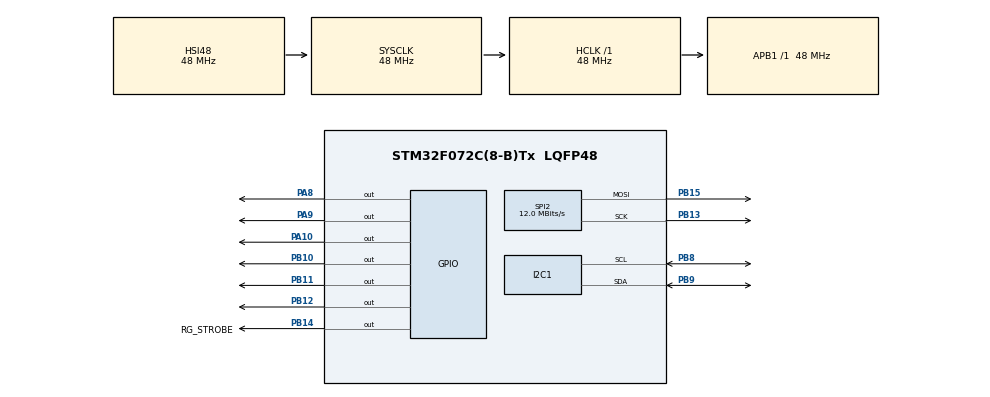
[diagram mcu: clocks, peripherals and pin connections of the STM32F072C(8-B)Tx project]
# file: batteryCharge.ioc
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Mcu.Family=STM32F0
Mcu.Name=STM32F072C(8-B)Tx
Mcu.Package=LQFP48
NVIC.I2C1_IRQn=true\:0\:0\:false\:false\:true\:true\:true\:true
NVIC.TIM1_BRK_UP_TRG_COM_IRQn=true\:0\:0\:false\:false\:true\:true\:true\:true
PA10.GPIO_PuPd=GPIO_NOPULL
PA10.Signal=GPIO_Output
PA13.Mode=Serial_Wire
PA13.Signal=SYS_SWDIO
PA14.Mode=Serial_Wire
PA14.Signal=SYS_SWCLK
PA8.Signal=GPIO_Output
PA9.Signal=GPIO_Output
PB10.Signal=GPIO_Output
PB11.Signal=GPIO_Output
PB12.PinState=GPIO_PIN_SET
PB12.Signal=GPIO_Output
PB13.Mode=TX_Only_Simplex_Unidirect_Master
PB13.Signal=SPI2_SCK
PB14.GPIO_Label=RG_STROBE
PB14.Signal=GPIO_Output
PB15.Mode=TX_Only_Simplex_Unidirect_Master
PB15.Signal=SPI2_MOSI
PB8.GPIO_Pu=GPIO_NOPULL
PB8.Mode=I2C
PB8.Signal=I2C1_SCL
PB9.GPIO_Pu=GPIO_NOPULL
PB9.Mode=I2C
PB9.Signal=I2C1_SDA
PF0-OSC_IN.Mode=HSE-External-Oscillator
PF0-OSC_IN.Signal=RCC_OSC_IN
PF1-OSC_OUT.Mode=HSE-External-Oscillator
PF1-OSC_OUT.Signal=RCC_OSC_OUT
ProjectManager.HeapSize=0x200
ProjectManager.StackSize=0x400
ProjectManager.TargetToolchain=STM32CubeIDE
RCC.AHBFreq_Value=48000000
RCC.APB1Freq_Value=48000000
RCC.APB1TimFreq_Value=48000000
RCC.HCLKFreq_Value=48000000
RCC.PLLMUL=RCC_PLL_MUL6
RCC.PLLSourceVirtual=RCC_PLLSOURCE_HSI48
RCC.SYSCLKFreq_VALUE=48000000
RCC.SYSCLKSource=RCC_SYSCLKSOURCE_HSI48
SPI2.BaudRatePrescaler=SPI_BAUDRATEPRESCALER_4
SPI2.CalculateBaudRate=12.0 MBits/s
SPI2.DataSize=SPI_DATASIZE_8BIT
SPI2.Direction=SPI_DIRECTION_2LINES
SPI2.Mode=SPI_MODE_MASTER
SPI2.VirtualType=VM_MASTER
TIM1.Period=49999
TIM1.Prescaler=3839
VP_TIM1_VS_ClockSourceINT.Mode=Internal
board=custom

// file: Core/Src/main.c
/* USER CODE BEGIN Header */
/**
 ******************************************************************************
 * @file           : main.c
 * @brief          : Main program body
 ******************************************************************************
 * @attention
 *
 * Copyright (c) 2024 STMicroelectronics.
 * All rights reserved.
 *
 * This software is licensed under terms that can be found in the LICENSE file
 * in the root directory of this software component.
 * If no LICENSE file comes with this software, it is provided AS-IS.
 *
 ******************************************************************************
 */
/* USER CODE END Header */
#include "main.h"

/* USER CODE BEGIN Includes */
#include <stdbool.h>
/* USER CODE END Includes */

/* USER CODE BEGIN PD */
#define RGS_NUMBER 9
#define HR_RGS_NUMBER 3
#define SPO2_RGS_NUMBER 3
#define BAR_L_RGS_NUMBER 1
#define BAR_R_RGS_NUMBER 1

#define indication_set() HAL_GPIO_WritePin(GPIOB, GPIO_PIN_14, GPIO_PIN_SET)
#define indication_reset() HAL_GPIO_WritePin(GPIOB, GPIO_PIN_14, GPIO_PIN_RESET)
#define indication_strob() cs_reset();cs_set()

#define I2C_ADDRESS                                              0x70<<1
#define I2C_ID_ADDRESS                                           0x08
#define I2C_TIMEOUT                                              10
/* USER CODE END PD */

I2C_HandleTypeDef hi2c1;

SPI_HandleTypeDef hspi2;

TIM_HandleTypeDef htim1;

/* USER CODE BEGIN PV */
uint8_t regData[2] = { 0, 0 };
uint8_t regAddress = I2C_ID_ADDRESS;

typedef struct {
	uint8_t RG_off;
	uint8_t RG_on;
	uint8_t mixled_off;
	uint8_t mixled_on;
	//uint8_t RG9 = 0b00000000, //диоды справа [0]
	//		RG8 = 0b00000000, //середина верхний [1]
	//		RG7 = 0b00000000, //верхний слева [2]
	//		RG6 = 0b00000000, //верхний справа [3]
	//		RG5 = 0b01110000, //mixled [4]
	//		RG4 = 0b00000000, //диоды слева [5]
	//		RG3 = 0b00000000, //середина нижний [6]
	//		RG2 = 0b00000000, //левый нижний [7]
	//		RG1 = 0b00000000; //правый нижний [8]
	uint8_t all_RGs_on[RGS_NUMBER];
	uint8_t all_RGs_off[RGS_NUMBER];
	uint8_t all_RGs_custom[RGS_NUMBER];
} RGs_Attr;

RGs_Attr RGs;

static void RGs_Attr_Init() {
	RGs.RG_off = 0b11111111;
	RGs.RG_on = 0b00000000;
	RGs.mixled_off = 0b10001110;
	RGs.mixled_on = 0b01110000;
	for (uint8_t i = 0; i < RGS_NUMBER; ++i) {
		RGs.all_RGs_on[i] = RGs.RG_on;
		RGs.all_RGs_custom[i] = RGs.all_RGs_off[i] = RGs.RG_off;
	}

	RGs.all_RGs_on[4] = RGs.mixled_on;
	RGs.all_RGs_custom[4] = RGs.all_RGs_off[4] = RGs.mixled_off;
}
/* USER CODE END PV */

void SystemClock_Config(void);
static void MX_GPIO_Init(void);
static void MX_I2C1_Init(void);
static void MX_SPI2_Init(void);
static void MX_TIM1_Init(void);

/* USER CODE BEGIN 0 */

uint8_t symbol_transform(unsigned char symbol) {
	uint8_t sym_to_indicator = 0;
	switch (symbol) {
	case 1:
		sym_to_indicator = 0b01110111;
		break;
	case 2:
		sym_to_indicator = 0b00101001;
		break;
	case 3:
		sym_to_indicator = 0b00100011;
		break;
	case 4:
		sym_to_indicator = 0b01000111;
		break;
	case 5:
		sym_to_indicator = 0b10000011;
		break;
	case 6:
		sym_to_indicator = 0b10000001;
		break;
	case 7:
		sym_to_indicator = 0b00110111;
		break;
	case 8:
		sym_to_indicator = 0b00000001;
		break;
	case 9:
		sym_to_indicator = 0b00000111;
		break;
	case 0:
		sym_to_indicator = 0b00010001;
		break;
	case '.':
		sym_to_indicator = 0b11111110;
	}
	return sym_to_indicator;
}

float getInfo() {
	return 3.14;
}
void number_to_indicator(float number, bool voltage) {
	if (voltage) {
		//2 1 3 RGs
		//number = 3.14;
		uint8_t integer, fraction;
		integer = number;
		fraction = (number - integer) * 100;
		RGs.all_RGs_custom[2] = symbol_transform(integer) & symbol_transform('.');
		RGs.all_RGs_custom[1] = symbol_transform(fraction / 10);
		RGs.all_RGs_custom[3] = symbol_transform(fraction % 10);
	} else {
		// 7 6 8
	}

}
void update_indication(bool indication, bool voltage) {
	if (indication) {
//		HAL_I2C_Master_Receive(&hi2c1, I2C_ADDRESS, (uint8_t *)regData, 2, I2C_TIMEOUT);
//		uint16_t high_byte=regData[1];
//		high_byte<<=8;
//		uint16_t value=(high_byte& 0xff00)|regData[0];
//		float voltage_value=value*2.44;
		number_to_indicator(3.14, voltage);
		HAL_SPI_Transmit(&hspi2, (uint8_t*) RGs.all_RGs_custom, RGS_NUMBER, 5000);  //SN74HC595N
	} else {
		HAL_SPI_Transmit(&hspi2, (uint8_t*) RGs.all_RGs_off, RGS_NUMBER, 5000);  //SN74HC595N
	}
	HAL_GPIO_WritePin(GPIOB, GPIO_PIN_14, GPIO_PIN_SET);
	HAL_GPIO_WritePin(GPIOB, GPIO_PIN_14, GPIO_PIN_RESET);
}

void HAL_TIM_PeriodElapsedCallback(TIM_HandleTypeDef *htim) {
	if (htim->Instance == TIM1) //check if the interrupt comes from TIM1
	{
		update_indication(false, true); //добавить переменные индикации и измеряемой переменной
	}
}
/* USER CODE END 0 */

int main(void)
{

  /* MCU Configuration--------------------------------------------------------*/

  /* Reset of all peripherals, Initializes the Flash interface and the Systick. */
  HAL_Init();

  /* Configure the system clock */
  SystemClock_Config();

  /* Initialize all configured peripherals */
  MX_GPIO_Init();
  MX_I2C1_Init();
  MX_SPI2_Init();
  MX_TIM1_Init();
  /* USER CODE BEGIN 2 */
  HAL_Delay(100);//предположение
//	HAL_I2C_Master_Receive(&hi2c1, I2C_ADDRESS<<1, (uint8_t *)regData, 2, I2C_TIMEOUT);
//	uint16_t high_byte=regData[0];
//	high_byte<<=8;
//	uint16_t value=(high_byte& 0xFF0)|regData[1];
//	float voltage_value=value*2.44;

//	uint8_t test_data[2]={0,0};
	HAL_StatusTypeDef stat;
	uint8_t check=0x00;
//	//0x70 STC3100
//	//0x72 temp
	stat=HAL_I2C_Mem_Read(&hi2c1,0x70<<1, 0x00, 1, &check, 1, 0xFFFF);

//	uint16_t high_byte = test_data[1];
//	high_byte <<= 8;
//	uint16_t value = (high_byte & 0xFF00) | test_data[0];
//	float voltage_value = value * 2.44;
	RGs_Attr_Init();
	//cs_reset();
	//HAL_SPI_Transmit(&hspi1, &spi2_data, 1, 5000);//
	HAL_SPI_Transmit(&hspi2, (uint8_t*) RGs.all_RGs_off, RGS_NUMBER, 5000);  //SN74HC595N
	HAL_GPIO_WritePin(GPIOB, GPIO_PIN_14, GPIO_PIN_SET);
	HAL_GPIO_WritePin(GPIOB, GPIO_PIN_14, GPIO_PIN_RESET);
	__HAL_TIM_CLEAR_FLAG(&htim1, TIM_SR_UIF);  //подождать 4 секунды для STC3100
	HAL_TIM_Base_Start_IT(&htim1);
  /* USER CODE END 2 */

  /* Infinite loop */
	while (1) {

	}
}

void SystemClock_Config(void)
{
  RCC_OscInitTypeDef RCC_OscInitStruct = {0};
  RCC_ClkInitTypeDef RCC_ClkInitStruct = {0};
  RCC_PeriphCLKInitTypeDef PeriphClkInit = {0};

  /** Initializes the RCC Oscillators according to the specified parameters
  * in the RCC_OscInitTypeDef structure.
  */
  RCC_OscInitStruct.OscillatorType = RCC_OSCILLATORTYPE_HSI|RCC_OSCILLATORTYPE_HSI48;
  RCC_OscInitStruct.HSIState = RCC_HSI_ON;
  RCC_OscInitStruct.HSI48State = RCC_HSI48_ON;
  RCC_OscInitStruct.HSICalibrationValue = RCC_HSICALIBRATION_DEFAULT;
  RCC_OscInitStruct.PLL.PLLState = RCC_PLL_NONE;
  if (HAL_RCC_OscConfig(&RCC_OscInitStruct) != HAL_OK)
  {
    Error_Handler();
  }

  /** Initializes the CPU, AHB and APB buses clocks
  */
  RCC_ClkInitStruct.ClockType = RCC_CLOCKTYPE_HCLK|RCC_CLOCKTYPE_SYSCLK
                              |RCC_CLOCKTYPE_PCLK1;
  RCC_ClkInitStruct.SYSCLKSource = RCC_SYSCLKSOURCE_HSI48;
  RCC_ClkInitStruct.AHBCLKDivider = RCC_SYSCLK_DIV1;
  RCC_ClkInitStruct.APB1CLKDivider = RCC_HCLK_DIV1;

  if (HAL_RCC_ClockConfig(&RCC_ClkInitStruct, FLASH_LATENCY_1) != HAL_OK)
  {
    Error_Handler();
  }
  PeriphClkInit.PeriphClockSelection = RCC_PERIPHCLK_I2C1;
  PeriphClkInit.I2c1ClockSelection = RCC_I2C1CLKSOURCE_HSI;
  if (HAL_RCCEx_PeriphCLKConfig(&PeriphClkInit) != HAL_OK)
  {
    Error_Handler();
  }
}

static void MX_I2C1_Init(void)
{

  hi2c1.Instance = I2C1;
  hi2c1.Init.Timing = 0x2000090E;
  hi2c1.Init.OwnAddress1 = 0;
  hi2c1.Init.AddressingMode = I2C_ADDRESSINGMODE_7BIT;
  hi2c1.Init.DualAddressMode = I2C_DUALADDRESS_DISABLE;
  hi2c1.Init.OwnAddress2 = 0;
  hi2c1.Init.OwnAddress2Masks = I2C_OA2_NOMASK;
  hi2c1.Init.GeneralCallMode = I2C_GENERALCALL_DISABLE;
  hi2c1.Init.NoStretchMode = I2C_NOSTRETCH_DISABLE;
  if (HAL_I2C_Init(&hi2c1) != HAL_OK)
  {
    Error_Handler();
  }

  /** Configure Analogue filter
  */
  if (HAL_I2CEx_ConfigAnalogFilter(&hi2c1, I2C_ANALOGFILTER_ENABLE) != HAL_OK)
  {
    Error_Handler();
  }

  /** Configure Digital filter
  */
  if (HAL_I2CEx_ConfigDigitalFilter(&hi2c1, 0) != HAL_OK)
  {
    Error_Handler();
  }

}

static void MX_SPI2_Init(void)
{

  /* SPI2 parameter configuration*/
  hspi2.Instance = SPI2;
  hspi2.Init.Mode = SPI_MODE_MASTER;
  hspi2.Init.Direction = SPI_DIRECTION_2LINES;
  hspi2.Init.DataSize = SPI_DATASIZE_8BIT;
  hspi2.Init.CLKPolarity = SPI_POLARITY_LOW;
  hspi2.Init.CLKPhase = SPI_PHASE_1EDGE;
  hspi2.Init.NSS = SPI_NSS_SOFT;
  hspi2.Init.BaudRatePrescaler = SPI_BAUDRATEPRESCALER_4;
  hspi2.Init.FirstBit = SPI_FIRSTBIT_MSB;
  hspi2.Init.TIMode = SPI_TIMODE_DISABLE;
  hspi2.Init.CRCCalculation = SPI_CRCCALCULATION_DISABLE;
  hspi2.Init.CRCPolynomial = 7;
  hspi2.Init.CRCLength = SPI_CRC_LENGTH_DATASIZE;
  hspi2.Init.NSSPMode = SPI_NSS_PULSE_ENABLE;
  if (HAL_SPI_Init(&hspi2) != HAL_OK)
  {
    Error_Handler();
  }

}

static void MX_TIM1_Init(void)
{

  TIM_ClockConfigTypeDef sClockSourceConfig = {0};
  TIM_MasterConfigTypeDef sMasterConfig = {0};

  htim1.Instance = TIM1;
  htim1.Init.Prescaler = 3839;
  htim1.Init.CounterMode = TIM_COUNTERMODE_UP;
  htim1.Init.Period = 49999;
  htim1.Init.ClockDivision = TIM_CLOCKDIVISION_DIV1;
  htim1.Init.RepetitionCounter = 0;
  htim1.Init.AutoReloadPreload = TIM_AUTORELOAD_PRELOAD_DISABLE;
  if (HAL_TIM_Base_Init(&htim1) != HAL_OK)
  {
    Error_Handler();
  }
  sClockSourceConfig.ClockSource = TIM_CLOCKSOURCE_INTERNAL;
  if (HAL_TIM_ConfigClockSource(&htim1, &sClockSourceConfig) != HAL_OK)
  {
    Error_Handler();
  }
  sMasterConfig.MasterOutputTrigger = TIM_TRGO_RESET;
  sMasterConfig.MasterSlaveMode = TIM_MASTERSLAVEMODE_DISABLE;
  if (HAL_TIMEx_MasterConfigSynchronization(&htim1, &sMasterConfig) != HAL_OK)
  {
    Error_Handler();
  }

}

static void MX_GPIO_Init(void)
{
  GPIO_InitTypeDef GPIO_InitStruct = {0};

  /* GPIO Ports Clock Enable */
  __HAL_RCC_GPIOF_CLK_ENABLE();
  __HAL_RCC_GPIOB_CLK_ENABLE();
  __HAL_RCC_GPIOA_CLK_ENABLE();

  /*Configure GPIO pin Output Level */
  HAL_GPIO_WritePin(GPIOB, GPIO_PIN_10|GPIO_PIN_11|RG_STROBE_Pin, GPIO_PIN_RESET);

  /*Configure GPIO pin Output Level */
  HAL_GPIO_WritePin(GPIOB, GPIO_PIN_12, GPIO_PIN_SET);

  /*Configure GPIO pin Output Level */
  HAL_GPIO_WritePin(GPIOA, GPIO_PIN_8|GPIO_PIN_9|GPIO_PIN_10, GPIO_PIN_RESET);

  /*Configure GPIO pins : PB10 PB11 PB12 RG_STROBE_Pin */
  GPIO_InitStruct.Pin = GPIO_PIN_10|GPIO_PIN_11|GPIO_PIN_12|RG_STROBE_Pin;
  GPIO_InitStruct.Mode = GPIO_MODE_OUTPUT_PP;
  GPIO_InitStruct.Pull = GPIO_NOPULL;
  GPIO_InitStruct.Speed = GPIO_SPEED_FREQ_LOW;
  HAL_GPIO_Init(GPIOB, &GPIO_InitStruct);

  /*Configure GPIO pins : PA8 PA9 PA10 */
  GPIO_InitStruct.Pin = GPIO_PIN_8|GPIO_PIN_9|GPIO_PIN_10;
  GPIO_InitStruct.Mode = GPIO_MODE_OUTPUT_PP;
  GPIO_InitStruct.Pull = GPIO_NOPULL;
  GPIO_InitStruct.Speed = GPIO_SPEED_FREQ_LOW;
  HAL_GPIO_Init(GPIOA, &GPIO_InitStruct);

}

void Error_Handler(void)
{
	__disable_irq();
	while (1) {
	}
}
